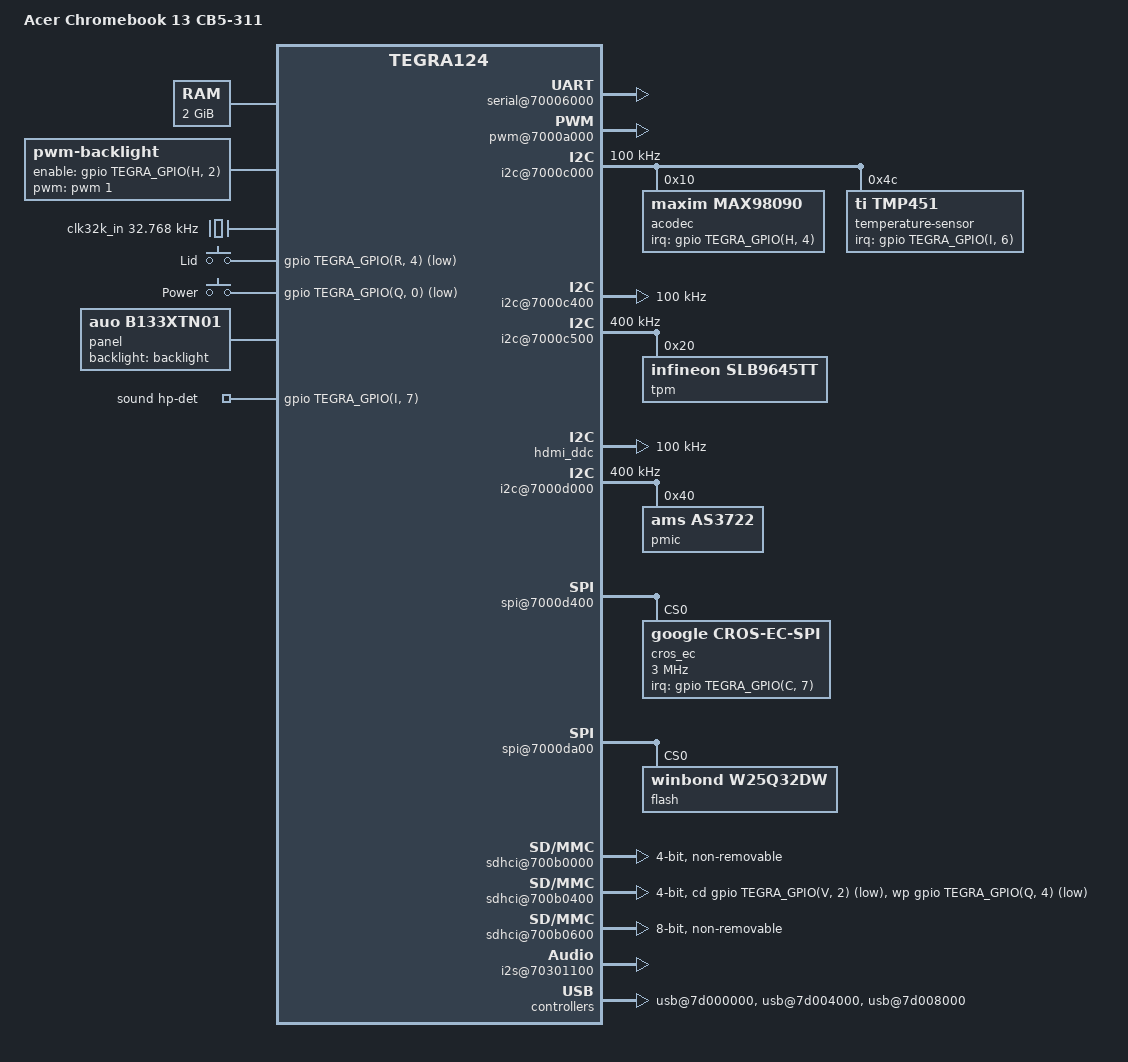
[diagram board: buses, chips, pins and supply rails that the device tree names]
/dts-v1/;

#include <dt-bindings/input/input.h>
#include "tegra124.dtsi"

/ {
	model = "Acer Chromebook 13 CB5-311";
	compatible = "google,nyan-big", "nvidia,tegra124";

	aliases {
		console = &uarta;
		i2c0 = "/i2c@7000d000";
		i2c1 = "/i2c@7000c000";
		i2c2 = "/i2c@7000c400";
		i2c3 = "/i2c@7000c500";
		i2c4 = "/i2c@7000c700";
		i2c5 = "/i2c@7000d100";
		rtc0 = "/i2c@0,7000d000/pmic@40";
		rtc1 = "/rtc@0,7000e000";
		sdhci0 = "/sdhci@700b0600";
		sdhci1 = "/sdhci@700b0400";
		spi0 = "/spi@7000d400";
		spi1 = "/spi@7000da00";
		usb0 = "/usb@7d000000";
		usb1 = "/usb@7d008000";
	};

	memory {
		reg = <0x80000000 0x80000000>;
	};

	serial@70006000 {
		/* Debug connector on the bottom of the board near SD card. */
		status = "okay";
	};

	pwm@7000a000 {
		status = "okay";
	};

	i2c@7000c000 {
		status = "okay";
		clock-frequency = <100000>;

		acodec: audio-codec@10 {
			compatible = "maxim,max98090";
			reg = <0x10>;
			interrupt-parent = <&gpio>;
			interrupts = <TEGRA_GPIO(H, 4) GPIO_ACTIVE_HIGH>;
		};

		temperature-sensor@4c {
			compatible = "ti,tmp451";
			reg = <0x4c>;
			interrupt-parent = <&gpio>;
			interrupts = <TEGRA_GPIO(I, 6) IRQ_TYPE_LEVEL_LOW>;

			#thermal-sensor-cells = <1>;
		};
	};

	i2c@7000c400 {
		status = "okay";
		clock-frequency = <100000>;
	};

	i2c@7000c500 {
		status = "okay";
		clock-frequency = <400000>;

		tpm@20 {
			compatible = "infineon,slb9645tt";
			reg = <0x20>;
		};
	};

	hdmi_ddc: i2c@7000c700 {
		status = "okay";
		clock-frequency = <100000>;
	};

	i2c@7000d000 {
		status = "okay";
		clock-frequency = <400000>;

		pmic: pmic@40 {
			compatible = "ams,as3722";
			reg = <0x40>;
			interrupts = <0 86 IRQ_TYPE_LEVEL_HIGH>;

			ams,system-power-controller;

			#interrupt-cells = <2>;
			interrupt-controller;

			gpio-controller;
			#gpio-cells = <2>;

			pinctrl-names = "default";
			pinctrl-0 = <&as3722_default>;

			as3722_default: pinmux {
				gpio0 {
					pins = "gpio0";
					function = "gpio";
					bias-pull-down;
				};

				gpio1 {
					pins = "gpio1";
					function = "gpio";
					bias-pull-up;
				};

				gpio2_4_7 {
					pins = "gpio2", "gpio4", "gpio7";
					function = "gpio";
					bias-pull-up;
				};

				gpio3_6 {
					pins = "gpio3", "gpio6";
					bias-high-impedance;
				};

				gpio5 {
					pins = "gpio5";
					function = "clk32k-out";
					bias-pull-down;
				};
			};
		};
	};

	spi@7000d400 {
		status = "okay";

		cros_ec: cros-ec@0 {
			compatible = "google,cros-ec-spi";
			spi-max-frequency = <3000000>;
			interrupt-parent = <&gpio>;
			interrupts = <TEGRA_GPIO(C, 7) IRQ_TYPE_LEVEL_LOW>;
			reg = <0>;

			google,cros-ec-spi-msg-delay = <2000>;

			i2c-tunnel {
				compatible = "google,cros-ec-i2c-tunnel";
				#address-cells = <1>;
				#size-cells = <0>;

				google,remote-bus = <0>;

				charger: bq24735@9 {
					compatible = "ti,bq24735";
					reg = <0x9>;
					interrupt-parent = <&gpio>;
					interrupts = <TEGRA_GPIO(J, 0)
							GPIO_ACTIVE_HIGH>;
					ti,ac-detect-gpios = <&gpio
							TEGRA_GPIO(J, 0)
							GPIO_ACTIVE_HIGH>;
				};

				battery: sbs-battery@b {
					compatible = "sbs,sbs-battery";
					reg = <0xb>;
					sbs,i2c-retry-count = <2>;
					sbs,poll-retry-count = <10>;
					power-supplies = <&charger>;
				};
			};
		};
	};

	spi@7000da00 {
		status = "okay";
		spi-max-frequency = <25000000>;

		flash@0 {
			compatible = "winbond,w25q32dw";
			reg = <0>;
		};
	};

	pmc@7000e400 {
		nvidia,invert-interrupt;
		nvidia,suspend-mode = <0>;
		nvidia,cpu-pwr-good-time = <500>;
		nvidia,cpu-pwr-off-time = <300>;
		nvidia,core-pwr-good-time = <641 3845>;
		nvidia,core-pwr-off-time = <61036>;
		nvidia,core-power-req-active-high;
		nvidia,sys-clock-req-active-high;
	};

	hda@70030000 {
		status = "okay";
	};

	sdhci@700b0000 { /* WiFi/BT on this bus */
		status = "okay";
		power-gpios = <&gpio TEGRA_GPIO(X, 7) GPIO_ACTIVE_HIGH>;
		bus-width = <4>;
		no-1-8-v;
		non-removable;
	};

	sdhci@700b0400 { /* SD Card on this bus */
		status = "okay";
		cd-gpios = <&gpio TEGRA_GPIO(V, 2) GPIO_ACTIVE_LOW>;
		power-gpios = <&gpio TEGRA_GPIO(R, 0) GPIO_ACTIVE_HIGH>;
		wp-gpios = <&gpio TEGRA_GPIO(Q, 4) GPIO_ACTIVE_LOW>;
		bus-width = <4>;
		no-1-8-v;
	};

	sdhci@700b0600 { /* eMMC on this bus */
		status = "okay";
		bus-width = <8>;
		no-1-8-v;
		non-removable;
	};

	ahub@70300000 {
		i2s@70301100 {
			status = "okay";
		};
	};

	usb@7d000000 { /* Rear external USB port. */
		status = "okay";
	};

	usb-phy@7d000000 {
		status = "okay";
	};

	usb@7d004000 { /* Internal webcam. */
		status = "okay";
	};

	usb-phy@7d004000 {
		status = "okay";
	};

	usb@7d008000 { /* Left external USB port. */
		status = "okay";
	};

	usb-phy@7d008000 {
		status = "okay";
	};

	backlight: backlight {
		compatible = "pwm-backlight";

		enable-gpios = <&gpio TEGRA_GPIO(H, 2) GPIO_ACTIVE_HIGH>;
		pwms = <&pwm 1 1000000>;

		default-brightness-level = <224>;
		brightness-levels =
			<  0   1   2   3   4   5   6   7
			   8   9  10  11  12  13  14  15
			  16  17  18  19  20  21  22  23
			  24  25  26  27  28  29  30  31
			  32  33  34  35  36  37  38  39
			  40  41  42  43  44  45  46  47
			  48  49  50  51  52  53  54  55
			  56  57  58  59  60  61  62  63
			  64  65  66  67  68  69  70  71
			  72  73  74  75  76  77  78  79
			  80  81  82  83  84  85  86  87
			  88  89  90  91  92  93  94  95
			  96  97  98  99 100 101 102 103
			 104 105 106 107 108 109 110 111
			 112 113 114 115 116 117 118 119
			 120 121 122 123 124 125 126 127
			 128 129 130 131 132 133 134 135
			 136 137 138 139 140 141 142 143
			 144 145 146 147 148 149 150 151
			 152 153 154 155 156 157 158 159
			 160 161 162 163 164 165 166 167
			 168 169 170 171 172 173 174 175
			 176 177 178 179 180 181 182 183
			 184 185 186 187 188 189 190 191
			 192 193 194 195 196 197 198 199
			 200 201 202 203 204 205 206 207
			 208 209 210 211 212 213 214 215
			 216 217 218 219 220 221 222 223
			 224 225 226 227 228 229 230 231
			 232 233 234 235 236 237 238 239
			 240 241 242 243 244 245 246 247
			 248 249 250 251 252 253 254 255
			 256>;
	};

	clocks {
		compatible = "simple-bus";
		#address-cells = <1>;
		#size-cells = <0>;

		clk32k_in: clock@0 {
			compatible = "fixed-clock";
			reg = <0>;
			#clock-cells = <0>;
			clock-frequency = <32768>;
		};
	};

	gpio-keys {
		compatible = "gpio-keys";

		lid {
			label = "Lid";
			gpios = <&gpio TEGRA_GPIO(R, 4) GPIO_ACTIVE_LOW>;
			linux,input-type = <5>;
			linux,code = <KEY_RESERVED>;
			debounce-interval = <1>;
			gpio-key,wakeup;
		};

		power {
			label = "Power";
			gpios = <&gpio TEGRA_GPIO(Q, 0) GPIO_ACTIVE_LOW>;
			linux,code = <KEY_POWER>;
			debounce-interval = <30>;
			gpio-key,wakeup;
		};
	};

	panel: panel {
		compatible = "auo,b133xtn01";

		backlight = <&backlight>;
	};

	sound {
		compatible = "nvidia,tegra-audio-max98090-nyan-big",
			     "nvidia,tegra-audio-max98090";
		nvidia,model = "Acer Chromebook 13";

		nvidia,audio-routing =
			"Headphones", "HPR",
			"Headphones", "HPL",
			"Speakers", "SPKR",
			"Speakers", "SPKL",
			"Mic Jack", "MICBIAS",
			"DMICL", "Int Mic",
			"DMICR", "Int Mic",
			"IN34", "Mic Jack";

		nvidia,i2s-controller = <&tegra_i2s1>;
		nvidia,audio-codec = <&acodec>;

		clocks = <&tegra_car TEGRA124_CLK_PLL_A>,
			 <&tegra_car TEGRA124_CLK_PLL_A_OUT0>,
			 <&tegra_car TEGRA124_CLK_EXTERN1>;
		clock-names = "pll_a", "pll_a_out0", "mclk";

		nvidia,hp-det-gpios = <&gpio TEGRA_GPIO(I, 7) GPIO_ACTIVE_HIGH>;
	};
};

#include "cros-ec-keyboard.dtsi"
